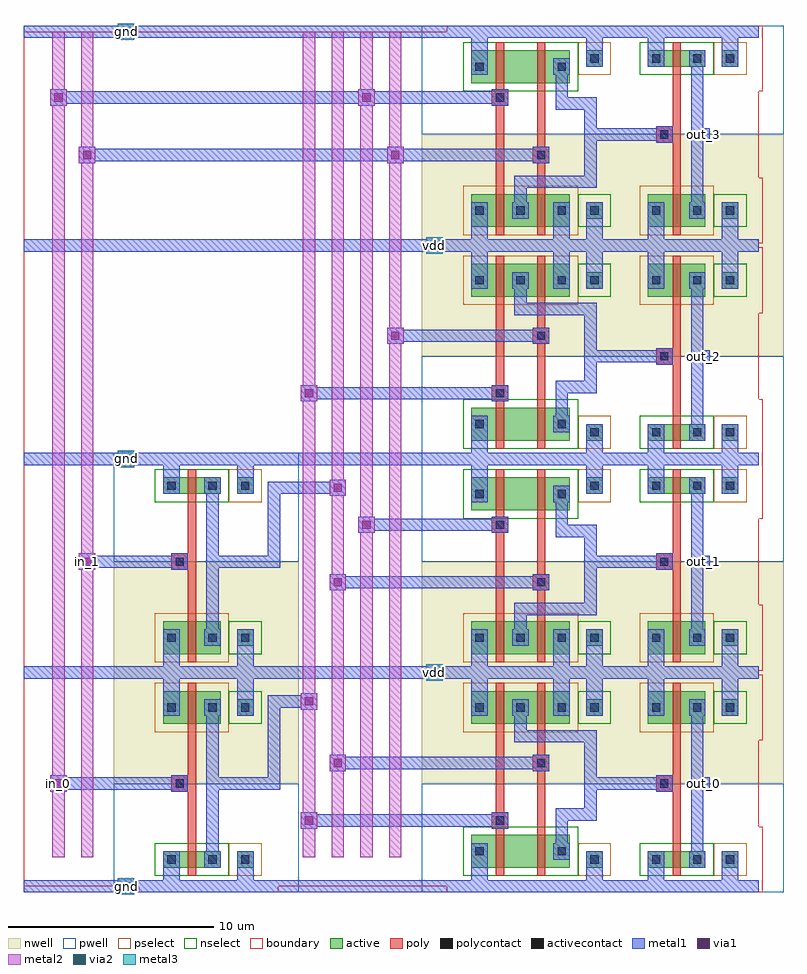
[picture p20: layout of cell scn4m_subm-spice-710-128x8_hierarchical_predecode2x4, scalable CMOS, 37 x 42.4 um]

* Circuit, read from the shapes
.subckt scn4m_subm-spice-710-128x8_hierarchical_predecode2x4 gnd in_0 in_1 out_0 out_1 out_2 out_3 vdd
M1 scn4m_subm-spice-710-128x8_and2_dec_2/A in_0 gnd gnd nfet w=0.8u l=0.4u
M2 scn4m_subm-spice-710-128x8_and2_dec_2/B in_1 gnd gnd nfet w=0.8u l=0.4u
M3 scn4m_subm-spice-710-128x8_and2_dec_2/scn4m_subm-spice-710-128x8_pnand2_0/scn4m_subm-spice-710-128x8_nmos_m1_w1_600_sm1_dactive_2/D scn4m_subm-spice-710-128x8_and2_dec_2/A gnd gnd nfet w=1.6u l=0.4u
M4 scn4m_subm-spice-710-128x8_and2_dec_3/scn4m_subm-spice-710-128x8_pnand2_0/scn4m_subm-spice-710-128x8_nmos_m1_w1_600_sm1_dactive_2/D in_0 gnd gnd nfet w=1.6u l=0.4u
M5 scn4m_subm-spice-710-128x8_and2_dec_4/scn4m_subm-spice-710-128x8_pnand2_0/scn4m_subm-spice-710-128x8_nmos_m1_w1_600_sm1_dactive_2/D scn4m_subm-spice-710-128x8_and2_dec_2/A gnd gnd nfet w=1.6u l=0.4u
M6 scn4m_subm-spice-710-128x8_and2_dec_5/scn4m_subm-spice-710-128x8_pnand2_0/scn4m_subm-spice-710-128x8_nmos_m1_w1_600_sm1_dactive_2/D in_0 gnd gnd nfet w=1.6u l=0.4u
M7 scn4m_subm-spice-710-128x8_and2_dec_2/scn4m_subm-spice-710-128x8_pinv_1/A scn4m_subm-spice-710-128x8_and2_dec_2/B scn4m_subm-spice-710-128x8_and2_dec_2/scn4m_subm-spice-710-128x8_pnand2_0/scn4m_subm-spice-710-128x8_nmos_m1_w1_600_sm1_dactive_2/D gnd nfet w=1.6u l=0.4u
M8 scn4m_subm-spice-710-128x8_and2_dec_3/scn4m_subm-spice-710-128x8_pinv_1/A scn4m_subm-spice-710-128x8_and2_dec_2/B scn4m_subm-spice-710-128x8_and2_dec_3/scn4m_subm-spice-710-128x8_pnand2_0/scn4m_subm-spice-710-128x8_nmos_m1_w1_600_sm1_dactive_2/D gnd nfet w=1.6u l=0.4u
M9 scn4m_subm-spice-710-128x8_and2_dec_4/scn4m_subm-spice-710-128x8_pinv_1/A in_1 scn4m_subm-spice-710-128x8_and2_dec_4/scn4m_subm-spice-710-128x8_pnand2_0/scn4m_subm-spice-710-128x8_nmos_m1_w1_600_sm1_dactive_2/D gnd nfet w=1.6u l=0.4u
M10 scn4m_subm-spice-710-128x8_and2_dec_5/scn4m_subm-spice-710-128x8_pinv_1/A in_1 scn4m_subm-spice-710-128x8_and2_dec_5/scn4m_subm-spice-710-128x8_pnand2_0/scn4m_subm-spice-710-128x8_nmos_m1_w1_600_sm1_dactive_2/D gnd nfet w=1.6u l=0.4u
M11 out_0 scn4m_subm-spice-710-128x8_and2_dec_2/scn4m_subm-spice-710-128x8_pinv_1/A gnd gnd nfet w=0.8u l=0.4u
M12 out_1 scn4m_subm-spice-710-128x8_and2_dec_3/scn4m_subm-spice-710-128x8_pinv_1/A gnd gnd nfet w=0.8u l=0.4u
M13 out_2 scn4m_subm-spice-710-128x8_and2_dec_4/scn4m_subm-spice-710-128x8_pinv_1/A gnd gnd nfet w=0.8u l=0.4u
M14 out_3 scn4m_subm-spice-710-128x8_and2_dec_5/scn4m_subm-spice-710-128x8_pinv_1/A gnd gnd nfet w=0.8u l=0.4u
M15 scn4m_subm-spice-710-128x8_and2_dec_2/A in_0 vdd vdd pfet w=1.6u l=0.4u
M16 scn4m_subm-spice-710-128x8_and2_dec_2/B in_1 vdd vdd pfet w=1.6u l=0.4u
M17 scn4m_subm-spice-710-128x8_and2_dec_2/scn4m_subm-spice-710-128x8_pinv_1/A scn4m_subm-spice-710-128x8_and2_dec_2/A vdd vdd pfet w=1.6u l=0.4u
M18 scn4m_subm-spice-710-128x8_and2_dec_3/scn4m_subm-spice-710-128x8_pinv_1/A in_0 vdd vdd pfet w=1.6u l=0.4u
M19 scn4m_subm-spice-710-128x8_and2_dec_4/scn4m_subm-spice-710-128x8_pinv_1/A scn4m_subm-spice-710-128x8_and2_dec_2/A vdd vdd pfet w=1.6u l=0.4u
M20 scn4m_subm-spice-710-128x8_and2_dec_5/scn4m_subm-spice-710-128x8_pinv_1/A in_0 vdd vdd pfet w=1.6u l=0.4u
M21 vdd scn4m_subm-spice-710-128x8_and2_dec_2/B scn4m_subm-spice-710-128x8_and2_dec_2/scn4m_subm-spice-710-128x8_pinv_1/A vdd pfet w=1.6u l=0.4u
M22 vdd scn4m_subm-spice-710-128x8_and2_dec_2/B scn4m_subm-spice-710-128x8_and2_dec_3/scn4m_subm-spice-710-128x8_pinv_1/A vdd pfet w=1.6u l=0.4u
M23 vdd in_1 scn4m_subm-spice-710-128x8_and2_dec_4/scn4m_subm-spice-710-128x8_pinv_1/A vdd pfet w=1.6u l=0.4u
M24 vdd in_1 scn4m_subm-spice-710-128x8_and2_dec_5/scn4m_subm-spice-710-128x8_pinv_1/A vdd pfet w=1.6u l=0.4u
M25 out_0 scn4m_subm-spice-710-128x8_and2_dec_2/scn4m_subm-spice-710-128x8_pinv_1/A vdd vdd pfet w=1.6u l=0.4u
M26 out_1 scn4m_subm-spice-710-128x8_and2_dec_3/scn4m_subm-spice-710-128x8_pinv_1/A vdd vdd pfet w=1.6u l=0.4u
M27 out_2 scn4m_subm-spice-710-128x8_and2_dec_4/scn4m_subm-spice-710-128x8_pinv_1/A vdd vdd pfet w=1.6u l=0.4u
M28 out_3 scn4m_subm-spice-710-128x8_and2_dec_5/scn4m_subm-spice-710-128x8_pinv_1/A vdd vdd pfet w=1.6u l=0.4u
.ends

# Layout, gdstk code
import gdstk
lib = gdstk.Library(unit=1e-6, precision=1e-09)
def R(c, l, rs):  # rectangles x0, y0, x1, y1
    for r in rs: c.add(gdstk.rectangle(r[:2], r[2:], *l))
def A(c, l, x, y, w, h, nx, ny, dx, dy):  # array of equal rectangles
    R(c, l, [(x+i*dx, y+j*dy, x+i*dx+w, y+j*dy+h) for i in range(nx) for j in range(ny)])
pwell = (41, 0)
nwell = (42, 0)
active = (43, 0)
pselect = (44, 0)
nselect = (45, 0)
poly = (46, 0)
polycontact = (47, 0)
activecontact = (48, 0)
metal1 = (49, 0)
via1 = (50, 0)
metal2 = (51, 0)
via2 = (61, 0)
metal3 = (62, 0)
boundary = (63, 0)

scn4m_subm_spice_710_128 = lib.new_cell('scn4m_subm-spice-710-128x8_contact_12')
R(scn4m_subm_spice_710_128, nwell, [(-1.2,-1.2,2,2)])
R(scn4m_subm_spice_710_128, active, [(0,0,0.8,0.8)])
R(scn4m_subm_spice_710_128, pselect, [(-0.4,-0.4,1.2,1.2)])
R(scn4m_subm_spice_710_128, activecontact, [(0.2,0.2,0.6,0.6)])
R(scn4m_subm_spice_710_128, metal1, [(0,0,0.8,0.8)])
R(scn4m_subm_spice_710_128, boundary, [(-1.2,-1.2,2,2)])

c_scn4m_subm_spice_710_128 = lib.new_cell('scn4m_subm-spice-710-128x8_pmos_m1_w1_600_sm1_dm1_da_p')
R(c_scn4m_subm_spice_710_128, nwell, [(-1.2,-1.2,4,2.8)])
R(c_scn4m_subm_spice_710_128, active, [(0,0,2.8,1.6)])
R(c_scn4m_subm_spice_710_128, pselect, [(-0.4,-0.4,3.2,2)])
R(c_scn4m_subm_spice_710_128, poly, [(1.2,-0.4,1.6,2), (1.2,-0.4,1.6,2)])
R(c_scn4m_subm_spice_710_128, metal1, [(0,0.4,0.8,1.2), (2,0.4,2.8,1.2)])
R(c_scn4m_subm_spice_710_128, boundary, [(-1.2,-1.2,4,2.8)])
c_scn4m_subm_spice_710_128.add(gdstk.Reference(scn4m_subm_spice_710_128, (0,0.4)))
c_scn4m_subm_spice_710_128.add(gdstk.Reference(scn4m_subm_spice_710_128, (2,0.4)))
c_scn4m_subm_spice_710_128.add(gdstk.Label('G', (1.4,0.8), layer=46, texttype=0))
c_scn4m_subm_spice_710_128.add(gdstk.Label('S', (0.4,0.8), layer=49, texttype=0))
c_scn4m_subm_spice_710_128.add(gdstk.Label('D', (2.4,0.8), layer=49, texttype=0))

c_scn4m_subm_spice_710_128_ = lib.new_cell('scn4m_subm-spice-710-128x8_contact_11')
R(c_scn4m_subm_spice_710_128_, pwell, [(-1.2,-1.2,2,2)])
R(c_scn4m_subm_spice_710_128_, active, [(0,0,0.8,0.8)])
R(c_scn4m_subm_spice_710_128_, nselect, [(-0.4,-0.4,1.2,1.2)])
R(c_scn4m_subm_spice_710_128_, activecontact, [(0.2,0.2,0.6,0.6)])
R(c_scn4m_subm_spice_710_128_, metal1, [(0,0,0.8,0.8)])
R(c_scn4m_subm_spice_710_128_, boundary, [(-1.2,-1.2,2,2)])

c_scn4m_subm_spice_710_128__ = lib.new_cell('scn4m_subm-spice-710-128x8_nmos_m1_w0_800_sm1_dm1_da_p')
R(c_scn4m_subm_spice_710_128__, pwell, [(-1.2,-1.2,4,2)])
R(c_scn4m_subm_spice_710_128__, active, [(0,0,2.8,0.8)])
R(c_scn4m_subm_spice_710_128__, nselect, [(-0.4,-0.4,3.2,1.2)])
R(c_scn4m_subm_spice_710_128__, poly, [(1.2,-0.4,1.6,1.2), (1.2,-0.4,1.6,1.2)])
R(c_scn4m_subm_spice_710_128__, metal1, [(0,0,0.8,0.8), (2,0,2.8,0.8)])
R(c_scn4m_subm_spice_710_128__, boundary, [(-1.2,-1.2,4,2)])
c_scn4m_subm_spice_710_128__.add(gdstk.Reference(c_scn4m_subm_spice_710_128_, (0,0)))
c_scn4m_subm_spice_710_128__.add(gdstk.Reference(c_scn4m_subm_spice_710_128_, (2,0)))
c_scn4m_subm_spice_710_128__.add(gdstk.Label('G', (1.4,0.4), layer=46, texttype=0))
c_scn4m_subm_spice_710_128__.add(gdstk.Label('S', (0.4,0.4), layer=49, texttype=0))
c_scn4m_subm_spice_710_128__.add(gdstk.Label('D', (2.4,0.4), layer=49, texttype=0))

c_scn4m_subm_spice_710_128___ = lib.new_cell('scn4m_subm-spice-710-128x8_contact_13')
R(c_scn4m_subm_spice_710_128___, nwell, [(-1.2,-1.2,2,2)])
R(c_scn4m_subm_spice_710_128___, active, [(0,0,0.8,0.8)])
R(c_scn4m_subm_spice_710_128___, nselect, [(-0.4,-0.4,1.2,1.2)])
R(c_scn4m_subm_spice_710_128___, activecontact, [(0.2,0.2,0.6,0.6)])
R(c_scn4m_subm_spice_710_128___, metal1, [(0,0,0.8,0.8)])
R(c_scn4m_subm_spice_710_128___, boundary, [(-1.2,-1.2,2,2)])

c_scn4m_subm_spice_710_128____ = lib.new_cell('scn4m_subm-spice-710-128x8_contact_14')
R(c_scn4m_subm_spice_710_128____, pwell, [(-1.2,-1.2,2,2)])
R(c_scn4m_subm_spice_710_128____, active, [(0,0,0.8,0.8)])
R(c_scn4m_subm_spice_710_128____, pselect, [(-0.4,-0.4,1.2,1.2)])
R(c_scn4m_subm_spice_710_128____, activecontact, [(0.2,0.2,0.6,0.6)])
R(c_scn4m_subm_spice_710_128____, metal1, [(0,0,0.8,0.8)])
R(c_scn4m_subm_spice_710_128____, boundary, [(-1.2,-1.2,2,2)])

c_scn4m_subm_spice_710_128_____ = lib.new_cell('scn4m_subm-spice-710-128x8_contact_15')
R(c_scn4m_subm_spice_710_128_____, poly, [(0,0,0.8,0.8)])
R(c_scn4m_subm_spice_710_128_____, polycontact, [(0.2,0.2,0.6,0.6)])
R(c_scn4m_subm_spice_710_128_____, metal1, [(0,0,0.8,0.8)])
R(c_scn4m_subm_spice_710_128_____, boundary, [(0,0,0.8,0.8)])

c_scn4m_subm_spice_710_128______ = lib.new_cell('scn4m_subm-spice-710-128x8_pinv')
R(c_scn4m_subm_spice_710_128______, pwell, [(-1.2,-0.3,7.8,5)])
R(c_scn4m_subm_spice_710_128______, nwell, [(-1.2,5,7.8,11.9)])
R(c_scn4m_subm_spice_710_128______, poly, [(2.4,2.1,2.8,7.5), (2,4.6,2.4,5.4)])
R(c_scn4m_subm_spice_710_128______, metal1, [(0,-0.3,6.6,0.3), (1.2,-0.3,2,0.9), (4.8,0,5.6,1.3), (3.3,0.9,3.9,9.1), (1.6,4.6,2.4,5.4), (3.6,4.7,4.2,5.3), (1.2,8.3,2,10.7), (4.8,8.7,5.6,10.4), (0,10.1,6.6,10.7)])
R(c_scn4m_subm_spice_710_128______, boundary, [(0,0,6.6,10.4), (0,0,6.6,10.4)])
c_scn4m_subm_spice_710_128______.add(gdstk.Reference(c_scn4m_subm_spice_710_128, (1.2,7.9)))
c_scn4m_subm_spice_710_128______.add(gdstk.Reference(c_scn4m_subm_spice_710_128__, (1.2,0.9)))
c_scn4m_subm_spice_710_128______.add(gdstk.Reference(c_scn4m_subm_spice_710_128___, (4.8,8.3)))
c_scn4m_subm_spice_710_128______.add(gdstk.Reference(c_scn4m_subm_spice_710_128____, (4.8,0.9)))
c_scn4m_subm_spice_710_128______.add(gdstk.Reference(c_scn4m_subm_spice_710_128_____, (1.6,4.6)))
c_scn4m_subm_spice_710_128______.add(gdstk.Label('A', (2,5), layer=49, texttype=0))
c_scn4m_subm_spice_710_128______.add(gdstk.Label('Z', (3.9,5), layer=49, texttype=0))
c_scn4m_subm_spice_710_128______.add(gdstk.Label('gnd', (3.3,0), layer=49, texttype=0))
c_scn4m_subm_spice_710_128______.add(gdstk.Label('vdd', (3.3,10.4), layer=49, texttype=0))

c_scn4m_subm_spice_710_128_______ = lib.new_cell('scn4m_subm-spice-710-128x8_pmos_m1_w1_600_sm1_dm1')
R(c_scn4m_subm_spice_710_128_______, nwell, [(-1.2,-1.2,4,2.8)])
R(c_scn4m_subm_spice_710_128_______, active, [(0,0,2.8,1.6)])
R(c_scn4m_subm_spice_710_128_______, pselect, [(-0.4,-0.4,3.2,2)])
R(c_scn4m_subm_spice_710_128_______, poly, [(1.2,-0.4,1.6,2), (1.2,-0.4,1.6,2)])
R(c_scn4m_subm_spice_710_128_______, metal1, [(0,0.4,0.8,1.2), (2,0.4,2.8,1.2)])
R(c_scn4m_subm_spice_710_128_______, boundary, [(-1.2,-1.2,4,2.8)])
c_scn4m_subm_spice_710_128_______.add(gdstk.Reference(scn4m_subm_spice_710_128, (0,0.4)))
c_scn4m_subm_spice_710_128_______.add(gdstk.Reference(scn4m_subm_spice_710_128, (2,0.4)))
c_scn4m_subm_spice_710_128_______.add(gdstk.Label('G', (1.4,0.8), layer=46, texttype=0))
c_scn4m_subm_spice_710_128_______.add(gdstk.Label('S', (0.4,0.8), layer=49, texttype=0))
c_scn4m_subm_spice_710_128_______.add(gdstk.Label('D', (2.4,0.8), layer=49, texttype=0))

c_scn4m_subm_spice_710_128________ = lib.new_cell('scn4m_subm-spice-710-128x8_nmos_m1_w1_600_sm1_dactive')
R(c_scn4m_subm_spice_710_128________, pwell, [(-1.2,-1.2,4,2.8)])
R(c_scn4m_subm_spice_710_128________, active, [(0,0,2.8,1.6), (2.1,0.5,2.7,1.1)])
R(c_scn4m_subm_spice_710_128________, nselect, [(-0.4,-0.4,3.2,2)])
R(c_scn4m_subm_spice_710_128________, poly, [(1.2,-0.4,1.6,2), (1.2,-0.4,1.6,2)])
R(c_scn4m_subm_spice_710_128________, metal1, [(0,0.4,0.8,1.2)])
R(c_scn4m_subm_spice_710_128________, boundary, [(-1.2,-1.2,4,2.8)])
c_scn4m_subm_spice_710_128________.add(gdstk.Reference(c_scn4m_subm_spice_710_128_, (0,0.4)))
c_scn4m_subm_spice_710_128________.add(gdstk.Label('G', (1.4,0.8), layer=46, texttype=0))
c_scn4m_subm_spice_710_128________.add(gdstk.Label('S', (0.4,0.8), layer=49, texttype=0))
c_scn4m_subm_spice_710_128________.add(gdstk.Label('D', (2.4,0.8), layer=43, texttype=0))

c_scn4m_subm_spice_710_128_________ = lib.new_cell('scn4m_subm-spice-710-128x8_nmos_m1_w1_600_sactive_dm1')
R(c_scn4m_subm_spice_710_128_________, pwell, [(-1.2,-1.2,4,2.8)])
R(c_scn4m_subm_spice_710_128_________, active, [(0,0,2.8,1.6), (0.1,0.5,0.7,1.1)])
R(c_scn4m_subm_spice_710_128_________, nselect, [(-0.4,-0.4,3.2,2)])
R(c_scn4m_subm_spice_710_128_________, poly, [(1.2,-0.4,1.6,2), (1.2,-0.4,1.6,2)])
R(c_scn4m_subm_spice_710_128_________, metal1, [(2,0.4,2.8,1.2)])
R(c_scn4m_subm_spice_710_128_________, boundary, [(-1.2,-1.2,4,2.8)])
c_scn4m_subm_spice_710_128_________.add(gdstk.Reference(c_scn4m_subm_spice_710_128_, (2,0.4)))
c_scn4m_subm_spice_710_128_________.add(gdstk.Label('G', (1.4,0.8), layer=46, texttype=0))
c_scn4m_subm_spice_710_128_________.add(gdstk.Label('S', (0.4,0.8), layer=43, texttype=0))
c_scn4m_subm_spice_710_128_________.add(gdstk.Label('D', (2.4,0.8), layer=49, texttype=0))

c_scn4m_subm_spice_710_128__________ = lib.new_cell('scn4m_subm-spice-710-128x8_pnand2')
R(c_scn4m_subm_spice_710_128__________, pwell, [(-1.2,-0.3,9.8,5)])
R(c_scn4m_subm_spice_710_128__________, nwell, [(-1.2,5,9.8,11.9)])
R(c_scn4m_subm_spice_710_128__________, poly, [(2.4,2.8,2.6,3.6), (2.4,2.9,2.8,7.5), (4.4,2.9,4.8,7.5), (4.4,5.6,4.6,6.4)])
R(c_scn4m_subm_spice_710_128__________, metal1, [(0,-0.3,8.6,0.3), (1.2,-0.3,2,1.3), (6.8,0,7.6,1.3), (5.3,2.1,5.9,3.5), (2.2,2.8,3,3.6), (5.3,3.2,5.9,3.8), (5.6,3.2,7,3.8), (6.7,3.2,7.3,3.8), (6.7,3.5,7.3,7.3), (4.2,5.6,5,6.4), (3.3,7,3.9,7.6), (3.6,7,7,7.6), (6.7,7,7.3,7.6), (3.3,7.3,3.9,8.3), (1.2,8.3,2,10.7), (5.2,8.3,6,10.7), (6.8,8.7,7.6,10.4), (0,10.1,8.6,10.7)])
R(c_scn4m_subm_spice_710_128__________, boundary, [(0,0,8.6,10.4), (0,0,8.6,10.4)])
c_scn4m_subm_spice_710_128__________.add(gdstk.Reference(c_scn4m_subm_spice_710_128_______, (1.2,7.9)))
c_scn4m_subm_spice_710_128__________.add(gdstk.Reference(c_scn4m_subm_spice_710_128_______, (3.2,7.9)))
c_scn4m_subm_spice_710_128__________.add(gdstk.Reference(c_scn4m_subm_spice_710_128________, (1.2,0.9)))
c_scn4m_subm_spice_710_128__________.add(gdstk.Reference(c_scn4m_subm_spice_710_128_________, (3.2,0.9)))
c_scn4m_subm_spice_710_128__________.add(gdstk.Reference(c_scn4m_subm_spice_710_128___, (6.8,8.3)))
c_scn4m_subm_spice_710_128__________.add(gdstk.Reference(c_scn4m_subm_spice_710_128____, (6.8,0.9)))
c_scn4m_subm_spice_710_128__________.add(gdstk.Reference(c_scn4m_subm_spice_710_128_____, (2.2,2.8)))
c_scn4m_subm_spice_710_128__________.add(gdstk.Reference(c_scn4m_subm_spice_710_128_____, (4.2,5.6)))
c_scn4m_subm_spice_710_128__________.add(gdstk.Label('Z', (7,7.3), layer=49, texttype=0))
c_scn4m_subm_spice_710_128__________.add(gdstk.Label('gnd', (4.3,0), layer=49, texttype=0))
c_scn4m_subm_spice_710_128__________.add(gdstk.Label('vdd', (4.3,10.4), layer=49, texttype=0))
c_scn4m_subm_spice_710_128__________.add(gdstk.Label('A', (2.6,3.2), layer=49, texttype=0))
c_scn4m_subm_spice_710_128__________.add(gdstk.Label('B', (4.6,6), layer=49, texttype=0))

c_scn4m_subm_spice_710_128___________ = lib.new_cell('scn4m_subm-spice-710-128x8_and2_dec')
R(c_scn4m_subm_spice_710_128___________, metal1, [(0,-0.3,15.2,0.3), (2.2,2.8,3,3.6), (6.7,4.7,7.3,5.3), (7,4.7,10.6,5.3), (12.2,4.7,12.8,5.3), (6.7,5,7.3,7.3), (4.2,5.6,5,6.4), (0,10.1,15.2,10.7)])
R(c_scn4m_subm_spice_710_128___________, boundary, [(0,0,15.2,10.4)])
c_scn4m_subm_spice_710_128___________.add(gdstk.Reference(c_scn4m_subm_spice_710_128__________, (0,0)))
c_scn4m_subm_spice_710_128___________.add(gdstk.Reference(c_scn4m_subm_spice_710_128______, (8.6,0)))
c_scn4m_subm_spice_710_128___________.add(gdstk.Label('Z', (12.5,5), layer=49, texttype=0))
c_scn4m_subm_spice_710_128___________.add(gdstk.Label('A', (2.6,3.2), layer=49, texttype=0))
c_scn4m_subm_spice_710_128___________.add(gdstk.Label('B', (4.6,6), layer=49, texttype=0))
c_scn4m_subm_spice_710_128___________.add(gdstk.Label('gnd', (7.6,0), layer=49, texttype=0))
c_scn4m_subm_spice_710_128___________.add(gdstk.Label('vdd', (7.6,10.4), layer=49, texttype=0))

c_scn4m_subm_spice_710_128____________ = lib.new_cell('scn4m_subm-spice-710-128x8_contact_16')
R(c_scn4m_subm_spice_710_128____________, metal1, [(0,0,0.8,0.8)])
R(c_scn4m_subm_spice_710_128____________, via1, [(0.2,0.2,0.6,0.6)])
R(c_scn4m_subm_spice_710_128____________, metal2, [(0,0,0.8,0.8)])
R(c_scn4m_subm_spice_710_128____________, boundary, [(0,0,0.8,0.8)])

c_scn4m_subm_spice_710_128_____________ = lib.new_cell('scn4m_subm-spice-710-128x8_contact_18')
R(c_scn4m_subm_spice_710_128_____________, metal1, [(0,0,0.8,0.8)])
R(c_scn4m_subm_spice_710_128_____________, via1, [(0.2,0.2,0.6,0.6)])
R(c_scn4m_subm_spice_710_128_____________, metal2, [(0,0,0.8,0.8)])
R(c_scn4m_subm_spice_710_128_____________, boundary, [(0,0,0.8,0.8)])

c_scn4m_subm_spice_710_128______________ = lib.new_cell('scn4m_subm-spice-710-128x8_contact_19')
R(c_scn4m_subm_spice_710_128______________, metal2, [(0,0,0.8,0.8)])
R(c_scn4m_subm_spice_710_128______________, via2, [(0.2,0.2,0.6,0.6)])
R(c_scn4m_subm_spice_710_128______________, metal3, [(0,0,0.8,0.8)])
R(c_scn4m_subm_spice_710_128______________, boundary, [(0,0,0.8,0.8)])

c_scn4m_subm_spice_710_128_______________ = lib.new_cell('scn4m_subm-spice-710-128x8_hierarchical_predecode2x4')
R(c_scn4m_subm_spice_710_128_______________, metal1, [(0,-0.3,35.8,0.3), (13.9,2.9,23.2,3.5), (22.9,2.9,23.5,3.5), (1.7,4.7,7.6,5.3), (7.3,4.7,7.9,5.3), (9.5,4.7,10.1,5.3), (9.8,4.7,12.2,5.3), (11.9,4.7,12.5,5.3), (32.8,4.7,33.4,5.3), (11.9,5,12.5,9), (15.3,5.7,25.2,6.3), (24.9,5.7,25.5,6.3), (11.9,8.7,12.5,9.3), (12.2,8.7,13.9,9.3), (0,10.1,35.8,10.7), (0,10.1,35.8,10.7), (15.3,14.5,25.2,15.1), (24.9,14.5,25.5,15.1), (3.1,15.5,7.6,16.1), (7.3,15.5,7.9,16.1), (9.5,15.5,10.1,16.1), (9.8,15.5,12.2,16.1), (11.9,15.5,12.5,16.1), (32.8,15.5,33.4,16.1), (11.9,15.8,12.5,19.4), (16.7,17.3,23.2,17.9), (22.9,17.3,23.5,17.9), (11.9,19.1,12.5,19.7), (12.2,19.1,15.3,19.7), (0,20.5,35.8,21.1), (0,20.5,35.8,21.1), (13.9,23.7,23.2,24.3), (22.9,23.7,23.5,24.3), (32.8,25.5,33.4,26.1), (18.1,26.5,25.2,27.1), (24.9,26.5,25.5,27.1), (0,30.9,35.8,31.5), (0,30.9,35.8,31.5), (3.1,35.3,18.1,35.9), (18.1,35.3,25.2,35.9), (24.9,35.3,25.5,35.9), (32.8,36.3,33.4,36.9), (1.7,38.1,16.7,38.7), (16.7,38.1,23.2,38.7), (22.9,38.1,23.5,38.7), (0,41.3,35.8,41.9)])
A(c_scn4m_subm_spice_710_128_______________, metal2, 13.6, 1.4, 0.6, 40.2, 4, 1, 1.4, 0)
R(c_scn4m_subm_spice_710_128_______________, metal2, [(1.4,1.4,2,41.6), (2.8,1.4,3.4,41.6), (1.3,4.6,2.1,5.4), (2.7,15.4,3.5,16.2)])
A(c_scn4m_subm_spice_710_128_______________, metal3, 4.6, -0.4, 0.8, 0.8, 1, 3, 0, 20.8)
R(c_scn4m_subm_spice_710_128_______________, metal3, [(19.6,10,20.4,10.8), (19.6,30.8,20.4,31.6)])
R(c_scn4m_subm_spice_710_128_______________, boundary, [(0,0,35.8,41.6)])
c_scn4m_subm_spice_710_128_______________.add(gdstk.Reference(c_scn4m_subm_spice_710_128______, (5.6,0)))
c_scn4m_subm_spice_710_128_______________.add(gdstk.Reference(c_scn4m_subm_spice_710_128______, (5.6,20.8), x_reflection=True))
c_scn4m_subm_spice_710_128_______________.add(gdstk.Reference(c_scn4m_subm_spice_710_128___________, (20.6,0)))
c_scn4m_subm_spice_710_128_______________.add(gdstk.Reference(c_scn4m_subm_spice_710_128___________, (20.6,20.8), x_reflection=True))
c_scn4m_subm_spice_710_128_______________.add(gdstk.Reference(c_scn4m_subm_spice_710_128___________, (20.6,20.8)))
c_scn4m_subm_spice_710_128_______________.add(gdstk.Reference(c_scn4m_subm_spice_710_128___________, (20.6,41.6), x_reflection=True))
c_scn4m_subm_spice_710_128_______________.add(gdstk.Reference(c_scn4m_subm_spice_710_128____________, (1.3,4.6)))
c_scn4m_subm_spice_710_128_______________.add(gdstk.Reference(c_scn4m_subm_spice_710_128____________, (2.7,15.4)))
c_scn4m_subm_spice_710_128_______________.add(gdstk.Reference(c_scn4m_subm_spice_710_128____________, (13.5,2.8)))
c_scn4m_subm_spice_710_128_______________.add(gdstk.Reference(c_scn4m_subm_spice_710_128____________, (14.9,5.6)))
c_scn4m_subm_spice_710_128_______________.add(gdstk.Reference(c_scn4m_subm_spice_710_128____________, (16.3,17.2)))
c_scn4m_subm_spice_710_128_______________.add(gdstk.Reference(c_scn4m_subm_spice_710_128____________, (14.9,14.4)))
c_scn4m_subm_spice_710_128_______________.add(gdstk.Reference(c_scn4m_subm_spice_710_128____________, (13.5,23.6)))
c_scn4m_subm_spice_710_128_______________.add(gdstk.Reference(c_scn4m_subm_spice_710_128____________, (17.7,26.4)))
c_scn4m_subm_spice_710_128_______________.add(gdstk.Reference(c_scn4m_subm_spice_710_128____________, (16.3,38)))
c_scn4m_subm_spice_710_128_______________.add(gdstk.Reference(c_scn4m_subm_spice_710_128____________, (17.7,35.2)))
c_scn4m_subm_spice_710_128_______________.add(gdstk.Reference(c_scn4m_subm_spice_710_128____________, (13.5,8.6)))
c_scn4m_subm_spice_710_128_______________.add(gdstk.Reference(c_scn4m_subm_spice_710_128____________, (14.9,19)))
c_scn4m_subm_spice_710_128_______________.add(gdstk.Reference(c_scn4m_subm_spice_710_128_____________, (1.3,38)))
c_scn4m_subm_spice_710_128_______________.add(gdstk.Reference(c_scn4m_subm_spice_710_128_____________, (16.3,38)))
c_scn4m_subm_spice_710_128_______________.add(gdstk.Reference(c_scn4m_subm_spice_710_128_____________, (2.7,35.2)))
c_scn4m_subm_spice_710_128_______________.add(gdstk.Reference(c_scn4m_subm_spice_710_128_____________, (17.7,35.2)))
c_scn4m_subm_spice_710_128_______________.add(gdstk.Reference(c_scn4m_subm_spice_710_128_____________, (19.6,10)))
c_scn4m_subm_spice_710_128_______________.add(gdstk.Reference(c_scn4m_subm_spice_710_128______________, (19.6,10)))
c_scn4m_subm_spice_710_128_______________.add(gdstk.Reference(c_scn4m_subm_spice_710_128_____________, (4.6,-0.4)))
c_scn4m_subm_spice_710_128_______________.add(gdstk.Reference(c_scn4m_subm_spice_710_128______________, (4.6,-0.4)))
c_scn4m_subm_spice_710_128_______________.add(gdstk.Reference(c_scn4m_subm_spice_710_128_____________, (19.6,10)))
c_scn4m_subm_spice_710_128_______________.add(gdstk.Reference(c_scn4m_subm_spice_710_128______________, (19.6,10)))
c_scn4m_subm_spice_710_128_______________.add(gdstk.Reference(c_scn4m_subm_spice_710_128_____________, (4.6,20.4)))
c_scn4m_subm_spice_710_128_______________.add(gdstk.Reference(c_scn4m_subm_spice_710_128______________, (4.6,20.4)))
c_scn4m_subm_spice_710_128_______________.add(gdstk.Reference(c_scn4m_subm_spice_710_128_____________, (19.6,30.8)))
c_scn4m_subm_spice_710_128_______________.add(gdstk.Reference(c_scn4m_subm_spice_710_128______________, (19.6,30.8)))
c_scn4m_subm_spice_710_128_______________.add(gdstk.Reference(c_scn4m_subm_spice_710_128_____________, (4.6,20.4)))
c_scn4m_subm_spice_710_128_______________.add(gdstk.Reference(c_scn4m_subm_spice_710_128______________, (4.6,20.4)))
c_scn4m_subm_spice_710_128_______________.add(gdstk.Reference(c_scn4m_subm_spice_710_128_____________, (19.6,30.8)))
c_scn4m_subm_spice_710_128_______________.add(gdstk.Reference(c_scn4m_subm_spice_710_128______________, (19.6,30.8)))
c_scn4m_subm_spice_710_128_______________.add(gdstk.Reference(c_scn4m_subm_spice_710_128_____________, (4.6,41.2)))
c_scn4m_subm_spice_710_128_______________.add(gdstk.Reference(c_scn4m_subm_spice_710_128______________, (4.6,41.2)))
c_scn4m_subm_spice_710_128_______________.add(gdstk.Label('in_0', (1.7,5), layer=51, texttype=0))
c_scn4m_subm_spice_710_128_______________.add(gdstk.Label('in_1', (3.1,15.8), layer=51, texttype=0))
c_scn4m_subm_spice_710_128_______________.add(gdstk.Label('out_0', (33.1,5), layer=49, texttype=0))
c_scn4m_subm_spice_710_128_______________.add(gdstk.Label('out_1', (33.1,15.8), layer=49, texttype=0))
c_scn4m_subm_spice_710_128_______________.add(gdstk.Label('out_2', (33.1,25.8), layer=49, texttype=0))
c_scn4m_subm_spice_710_128_______________.add(gdstk.Label('out_3', (33.1,36.6), layer=49, texttype=0))
c_scn4m_subm_spice_710_128_______________.add(gdstk.Label('vdd', (20,10.4), layer=62, texttype=0))
c_scn4m_subm_spice_710_128_______________.add(gdstk.Label('vdd', (20,31.2), layer=62, texttype=0))
c_scn4m_subm_spice_710_128_______________.add(gdstk.Label('gnd', (5,20.8), layer=62, texttype=0))
c_scn4m_subm_spice_710_128_______________.add(gdstk.Label('gnd', (5,41.6), layer=62, texttype=0))
c_scn4m_subm_spice_710_128_______________.add(gdstk.Label('gnd', (5,0), layer=62, texttype=0))

lib.write_gds('scn4m_subm-spice-710-128x8_hierarchical_predecode2x4.gds')
